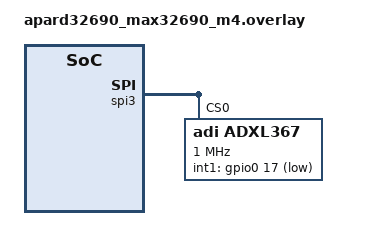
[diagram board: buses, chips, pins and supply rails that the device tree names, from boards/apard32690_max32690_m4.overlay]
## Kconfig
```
# Copyright (c) 2025 Analog Devices, Inc.
# SPDX-License-Identifier: Apache-2.0

# ==============================================================================
# PUBLISHER CONFIGURATION
# ==============================================================================

menu "Publisher Configuration"

config TOPIC_PUBLISH_PERIOD_MS
	int "Publishing period in milliseconds"
	default 100
	help
	  How often to publish sensor data to ROS topics.
	  Lower values provide higher update rates but increase
	  network traffic and CPU usage.

config TOPIC_PREFIX
	string "Topic name prefix"
	default "sensor"
	help
	  Prefix for all sensor topic names.

endmenu # Publisher Configuration

source "Kconfig.zephyr"

module = APP
module-str = APP
source "subsys/logging/Kconfig.template.log_config"
```

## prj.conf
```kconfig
# =============================================================================
# APPLICATION-SPECIFIC CONFIGURATION
# =============================================================================

# CONFIG_TOPIC_PUBLISH_PERIOD_MS=100
# CONFIG_TOPIC_PREFIX="sensor"

CONFIG_MICROROS_NODES="1"
CONFIG_MICROROS_PUBLISHERS="8"
CONFIG_MICROROS_SUBSCRIBERS="1"
# CONFIG_MICROROS_CLIENTS="1"
# CONFIG_MICROROS_SERVERS="1"
CONFIG_MICROROS_RMW_HISTORIC="4"
# CONFIG_MICROROS_XRCE_DDS_MTU="512"
# CONFIG_MICROROS_XRCE_DDS_HISTORIC="4"

# =============================================================================
# CORE SYSTEM CONFIGURATION
# =============================================================================

CONFIG_GPIO=y

CONFIG_SENSOR=y
CONFIG_SPI=y
CONFIG_ADXL367=y

# =============================================================================
# MICROROS LIBRARY
# =============================================================================
CONFIG_GPIO=y
CONFIG_MICROROS=y
CONFIG_CPP=y

CONFIG_MAIN_STACK_SIZE=25000
CONFIG_MAIN_THREAD_PRIORITY=3

CONFIG_NEWLIB_LIBC=y
CONFIG_NEWLIB_LIBC_NANO=n
CONFIG_PTHREAD_IPC=n

CONFIG_POSIX_API=y
CONFIG_POSIX_CLOCK=y

CONFIG_STDOUT_CONSOLE=y
CONFIG_LOG=y
CONFIG_SERIAL=y
CONFIG_UART_INTERRUPT_DRIVEN=y
CONFIG_UART_LINE_CTRL=y
```

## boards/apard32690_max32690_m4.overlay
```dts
/*
 * Copyright (c) 2025 Analog Devices, Inc.
 * SPDX-License-Identifier: Apache-2.0
 */

/ {
	aliases {
		accel0 = &adxl367;
	};
};

&spi3 {
    status = "okay";

    adxl367: adxl367@0 {
        compatible = "adi,adxl367";
        reg = <0>;
        spi-max-frequency = <DT_FREQ_M(1)>;

        odr = <3>;
        int1-gpios = <&gpio0 17 (GPIO_ACTIVE_LOW)>;
        friendly-name = "ADXL367 Accelerometer";
    };
};

// Used in micro-ROS transport configuration
usart1: &uart0 {};
```

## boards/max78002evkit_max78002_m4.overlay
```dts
/*
 * Copyright (c) 2025 Analog Devices, Inc.
 * SPDX-License-Identifier: Apache-2.0
 */

/ {
	aliases {
		accel0 = &adxl367;
	};
};

&spi0 {
    status = "okay";

    adxl367: adxl367@0 {
        compatible = "adi,adxl367";
        reg = <0>;
        spi-max-frequency = <DT_FREQ_M(1)>;

        odr = <2>;
        // int1-gpios = <&gpio0 8 (GPIO_ACTIVE_LOW)>;
        friendly-name = "ADXL367 Accelerometer";
    };
};

// Used in micro-ROS transport configuration
usart1: &uart0 {};
```

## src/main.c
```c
/*
 * Copyright (c) 2025 Analog Devices, Inc.
 *
 * SPDX-License-Identifier: Apache-2.0
 */

#include <zephyr/device.h>
#include <zephyr/drivers/sensor.h>
#include <zephyr/kernel.h>
#include <zephyr/sys/util_macro.h>

#include <stdio.h>

#include <rcl/rcl.h>
#include <rclc/executor.h>

#include <geometry_msgs/msg/point32.h>
#include <micro_ros_utilities/string_utilities.h>
#include <std_msgs/msg/int32.h>

#include <microros_transports.h>
#include <rmw_microros/rmw_microros.h>

/* ============================================================================
 * CONFIGURATION AND CONSTANTS
 * ============================================================================
 */

#define ACCEL_NODE DT_ALIAS(accel0)

#define NODE_NAME "zephyr_imu_node"
#define NODE_NAMESPACE CONFIG_TOPIC_PREFIX
#define TOPIC_NAME_MAX_LEN 32
#define TOPIC_NAME "imu"
#define DOMAIN_ID 0

/* Timing Configuration */
#define PUBLISH_PERIOD_MS CONFIG_TOPIC_PUBLISH_PERIOD_MS

/* Error Checking Macros */
#define RCCHECK(fn)                                                                   \
	{                                                                             \
		rcl_ret_t temp_rc = fn;                                               \
		if ((temp_rc != RCL_RET_OK))                                          \
		{                                                                     \
			printf("Failed status on line %d: %d. Aborting.\n", __LINE__, \
			       (int)temp_rc);                                         \
			return 1;                                                     \
		}                                                                     \
	}
#define RCSOFTCHECK(fn)                                                                 \
	{                                                                               \
		rcl_ret_t temp_rc = fn;                                                 \
		if ((temp_rc != RCL_RET_OK))                                            \
		{                                                                       \
			printf("Failed status on line %d: %d. Continuing.\n", __LINE__, \
			       (int)temp_rc);                                           \
		}                                                                       \
	}

#define EXECUTE_EVERY_N_MS(MS, X)                  \
	do                                         \
	{                                          \
		static volatile int64_t init = -1; \
		if (init == -1)                    \
		{                                  \
			init = uxr_millis();       \
		}                                  \
		if (uxr_millis() - init > MS)      \
		{                                  \
			X;                         \
			init = uxr_millis();       \
		}                                  \
	} while (0)

/* ============================================================================
 * DATA STRUCTURES
 * ============================================================================
 */

enum states
{
	WAITING_AGENT,
	AGENT_AVAILABLE,
	AGENT_CONNECTED,
	AGENT_DISCONNECTED
} state;

/* ============================================================================
 * GLOBAL VARIABLES
 * ============================================================================
 */

rclc_support_t support;
rcl_init_options_t init_options;
rcl_node_t node;
rclc_executor_t executor;
rcl_allocator_t allocator;

rcl_timer_t timer;
rcl_publisher_t imu_publisher;
geometry_msgs__msg__Point32 imu_data;

static const struct device *imu_sensor = DEVICE_DT_GET(ACCEL_NODE);
struct sensor_value accel_x, accel_y, accel_z;

/* ============================================================================
 * FUNCTION PROTOTYPES
 * ============================================================================
 */
static bool sensor_initialize(void);
static bool create_entities(void);
static bool destroy_entities(void);
static void publish_sensor_data_callback(rcl_timer_t *, int64_t);
static inline float out_ev(struct sensor_value *);
/* ============================================================================
 * MAIN APPLICATION
 * ============================================================================
 */
int main(void)
{
	rmw_uros_set_custom_transport(MICRO_ROS_FRAMING_REQUIRED,
				      (void *)&default_params, zephyr_transport_open,
				      zephyr_transport_close, zephyr_transport_write,
				      zephyr_transport_read);

	// HW initialization
	if (!sensor_initialize())
	{
		return -EIO;
	}

	// agent discovery state machine
	state = WAITING_AGENT;
	while (1)
	{
		switch (state)
		{
		case WAITING_AGENT:
			EXECUTE_EVERY_N_MS(500,
					   state = (RMW_RET_OK == rmw_uros_ping_agent(100, 1))
						       ? AGENT_AVAILABLE
						       : WAITING_AGENT;);
			break;
		case AGENT_AVAILABLE:
			state = (true == create_entities()) ? AGENT_CONNECTED : WAITING_AGENT;
			if (state == WAITING_AGENT)
			{
				destroy_entities();
			}
			break;
		case AGENT_CONNECTED:
			// main execution loop - blocking call
			rclc_executor_spin(&executor);
			state = AGENT_DISCONNECTED;
			break;
		case AGENT_DISCONNECTED:
			destroy_entities();
			state = WAITING_AGENT;
			break;
		default:
			break;
		}
	}

	return 0;
} // main

/* ============================================================================
 * FUNCTION IMPLEMENTATIONS
 * ============================================================================
 */

static bool sensor_initialize(void)
{
	int ret;

	if (!device_is_ready(imu_sensor))
	{
		return false;
	}

	return true;
}

static bool create_entities(void)
{
	allocator = rcl_get_default_allocator();

	// create init options
	init_options = rcl_get_zero_initialized_init_options();
	RCCHECK(rcl_init_options_init(&init_options, allocator));
	RCCHECK(rcl_init_options_set_domain_id(&init_options, DOMAIN_ID))
	RCCHECK(rclc_support_init_with_options(&support, 0, NULL, &init_options,
					       &allocator));

	// create node
	RCCHECK(rclc_node_init_default(&node, NODE_NAME, NODE_NAMESPACE, &support));

	// create timer
	RCCHECK(rclc_timer_init_default(&timer, &support,
					RCL_MS_TO_NS(PUBLISH_PERIOD_MS),
					publish_sensor_data_callback));

	// create publisher
	RCCHECK(rclc_publisher_init_best_effort(
	    &imu_publisher, &node,
	    ROSIDL_GET_MSG_TYPE_SUPPORT(geometry_msgs, msg, Point32), TOPIC_NAME));

	// create executor
	executor = rclc_executor_get_zero_initialized_executor();
	RCCHECK(rclc_executor_init(&executor, &support.context, 1, &allocator));
	RCCHECK(rclc_executor_add_timer(&executor, &timer));

	return true;
}

static bool destroy_entities(void)
{
	rmw_context_t *rmw_context = rcl_context_get_rmw_context(&support.context);
	(void)rmw_uros_set_context_entity_destroy_session_timeout(rmw_context, 0);

	RCSOFTCHECK(rcl_publisher_fini(&imu_publisher, &node));
	RCSOFTCHECK(rcl_timer_fini(&timer))
	RCSOFTCHECK(rclc_executor_fini(&executor));
	RCSOFTCHECK(rcl_node_fini(&node));
	RCSOFTCHECK(rclc_support_fini(&support));
	RCSOFTCHECK(rcl_node_options_fini(&init_options));
}

static void publish_sensor_data_callback(rcl_timer_t *timer,
					 int64_t last_call_time)
{
	RCLC_UNUSED(last_call_time);
	int ret;

	// read IMU
	ret = sensor_sample_fetch_chan(imu_sensor, SENSOR_CHAN_ACCEL_XYZ);
	if (ret < 0)
	{
		return;
	}
	sensor_channel_get(imu_sensor, SENSOR_CHAN_ACCEL_X, &accel_x);
	sensor_channel_get(imu_sensor, SENSOR_CHAN_ACCEL_Y, &accel_y);
	sensor_channel_get(imu_sensor, SENSOR_CHAN_ACCEL_Z, &accel_z);

	// fill IMU message
	imu_data.x = out_ev(&accel_x);
	imu_data.y = out_ev(&accel_y);
	imu_data.z = out_ev(&accel_z);

	RCSOFTCHECK(rcl_publish(&imu_publisher, &imu_data, NULL));
}

static inline float out_ev(struct sensor_value *val)
{
	return (val->val1 + (float)val->val2 / 1000000);
}
```
